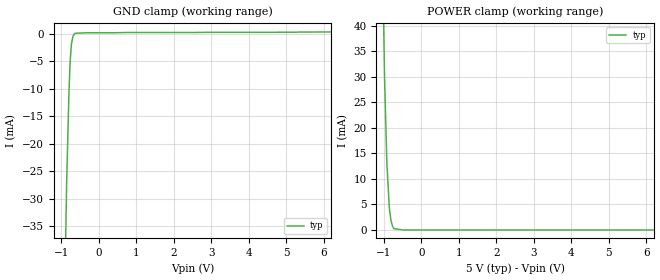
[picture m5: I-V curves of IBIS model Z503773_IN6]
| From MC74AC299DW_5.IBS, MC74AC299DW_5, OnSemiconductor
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| (C) COPYRIGHT 1993-2000
| MENTOR GRAPHICS CORPORATION
| ICX STANDARD LIBRARY, ICX PROJECT MODELING,
| ICX CUSTOM MODELING, ICX VENDOR MODEL
| ALL RIGHTS RESERVED.
| THE FOLLOWING ARE TRADEMARKS OR SERVICE MARKS OF
| MENTOR GRAPHICS CORPORATION:ICX (R), ICX STANDARD
| LIBRARY(R), ICX PROJECT MODELING(R), ICX CUSTOM
| MODELING(R), qualityIBIS(TM), MODELVIEWER(TM),
| AND MODELEDITOR(TM)
| ALL COPIES OF SOFTWARE, INCLUDING BUT NOT LIMITED TO
| ANY MODIFICATIONS, ENHANCEMENTS OR DERIVATIVE WORKS,
| MUST CONTAIN ALL MENTOR GRAPHICS CORPORATION'S
| NOTICES AND LEGENDS, INCLUDING THOSE EMBEDDED IN
| SOFTWARE AND THOSE AFFIXED TO SOFTWARE MEDIUM
| AND CONTAINER, AS RECEIVED FROM MENTOR GRAPHICS
| CORPORATION.
| Model Application Version 1.89 2/18/99.
[Model] Z503773_IN6
Model_type Input
Vinl = 1.500V
Vinh = 3.500V
C_comp 4.000pF NA NA
| variable typ   min   max
[Voltage Range] 5.000V NA NA
[GND Clamp Reference] 0.000V NA NA
[POWER Clamp Reference] 5.000V NA NA
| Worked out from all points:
|   GND clamp passes 1 mA (typ) near -0.70 V on its own axis
|   POWER clamp passes 1 mA (typ) near -0.78 V on its own axis
[GND Clamp]
-5V       -3.744A    NA         NA
-1.011V   -89.66mA   NA         NA
-859.1mV  -27.46mA   NA         NA
-797mV    -10.84mA   NA         NA
-766.2mV  -5.202mA   NA         NA
-730.2mV  -1.854mA   NA         NA
-687.8mV  -439.2uA   NA         NA
-648.2mV  7.197uA    NA         NA
-610.3mV  105.5uA    NA         NA
10V       504.6uA    NA         NA
[POWER Clamp]
-5V       2.746A     NA         NA
-1.25V    170.4mA    NA         NA
-1.115V   90.73mA    NA         NA
-981mV    29.99mA    NA         NA
-918mV    12.92mA    NA         NA
-849mV    3.975mA    NA         NA
-811mV    1.955mA    NA         NA
-770mV    793.3uA    NA         NA
-732mV    257.7uA    NA         NA
-488mV    0A         NA         NA
10V       0A         NA         NA
